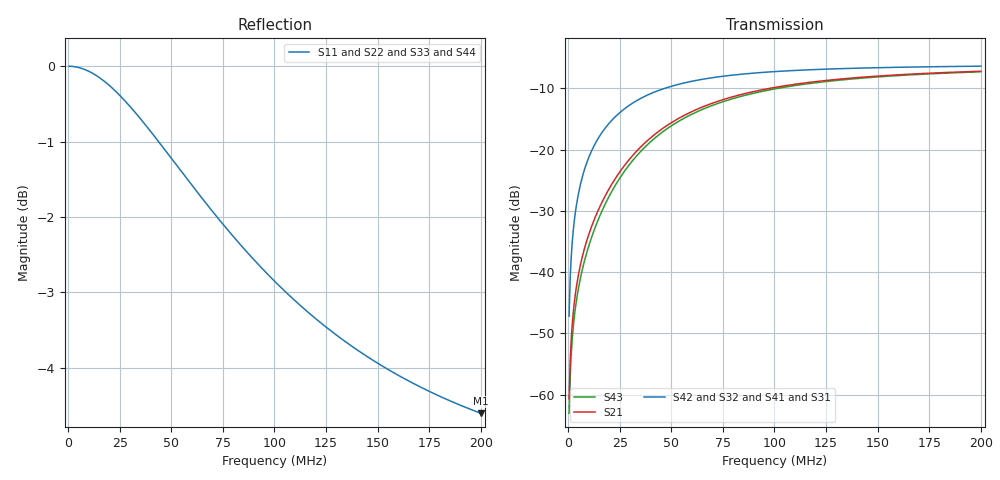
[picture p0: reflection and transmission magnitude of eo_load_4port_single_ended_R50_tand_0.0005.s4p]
! Created with skrf 2.0.1 (http://scikit-rf.org).
# Hz S RI R 50.0
!freq ReS11 ImS11 ReS12 ImS12 ReS13 ImS13
! ReS14 ImS14
! ReS21 ImS21 ReS22 ImS22 ReS23 ImS23
! ReS24 ImS24
! ReS31 ImS31 ReS32 ImS32 ReS33 ImS33
! ReS34 ImS34
! ReS41 ImS41 ReS42 ImS42 ReS43 ImS43
! ReS44 ImS44
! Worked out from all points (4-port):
!   400 points, 500 kHz to 200 MHz, reference 50 ohm
!   strongest paths, dB at 500 kHz, 50.5 MHz, 100.5 MHz, 150.5 MHz, 200 MHz:
!     S42: -47.2, -9.6, -7.2, -6.6, -6.4
!     S32: -47.2, -9.6, -7.2, -6.6, -6.4
!     S41: -47.2, -9.6, -7.2, -6.6, -6.4
!     S31: -47.2, -9.6, -7.2, -6.6, -6.4
!     S21: -60.7, -15.5, -9.8, -8.0, -7.2
!     S43: -63.0, -16.0, -10.1, -8.1, -7.3
!   lowest |S11| = -4.6 dB at 200 MHz (marker M1), VSWR 3.86, Z = 17.1 - j27.1 ohm
!   |S11| at or under -10 dB: nowhere
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500000  0.9999 -0.00968  -9.75e-06 0.000925  4.05e-05 0.00438  4.05e-05 0.00438
        -9.75e-06 0.000925  0.9999 -0.00968  4.05e-05 0.00438  4.05e-05 0.00438
        4.05e-05 0.00438  4.05e-05 0.00438  0.9999 -0.00946  -1.21e-05 0.000705
        4.05e-05 0.00438  4.05e-05 0.00438  -1.21e-05 0.000705  0.9999 -0.00946
1500000  0.9994 -0.029  -9.04e-05 0.00278  0.000351 0.0131  0.000351 0.0131
         -9.04e-05 0.00278  0.9994 -0.029  0.000351 0.0131  0.000351 0.0131
         0.000351 0.0131  0.000351 0.0131  0.9994 -0.0284  -0.000111 0.00212
         0.000351 0.0131  0.000351 0.0131  -0.000111 0.00212  0.9994 -0.0284
3000000  0.9976 -0.058  -0.000362 0.00559  0.00139 0.0262  0.00139 0.0262
         -0.000362 0.00559  0.9976 -0.058  0.00139 0.0262  0.00139 0.0262
         0.00139 0.0262  0.00139 0.0262  0.9977 -0.0567  -0.000445 0.00427
         0.00139 0.0262  0.00139 0.0262  -0.000445 0.00427  0.9977 -0.0567
9500000  0.9764 -0.1807  -0.00341 0.0188  0.0135 0.0809  0.0135 0.0809
         -0.00341 0.0188  0.9764 -0.1807  0.0135 0.0809  0.0135 0.0809
         0.0135 0.0809  0.0135 0.0809  0.9772 -0.1766  -0.00422 0.0147
         0.0135 0.0809  0.0135 0.0809  -0.00422 0.0147  0.9772 -0.1766
4.25e7  0.6527 -0.6139  -0.00929 0.1351  0.1783 0.2394  0.1783 0.2394
        -0.00929 0.1351  0.6527 -0.6139  0.1783 0.2394  0.1783 0.2394
        0.1783 0.2394  0.1783 0.2394  0.6643 -0.6033  -0.0209 0.1246
        0.1783 0.2394  0.1783 0.2394  -0.0209 0.1246  0.6643 -0.6033
1.105e8  0.0268 -0.6974  0.1841 0.2897  0.3946 0.2038  0.3946 0.2038
         0.1841 0.2897  0.0268 -0.6974  0.3946 0.2038  0.3946 0.2038
         0.3946 0.2038  0.3946 0.2038  0.0476 -0.7002  0.1633 0.2926
         0.3946 0.2038  0.3946 0.2038  0.1633 0.2926  0.0476 -0.7002
2e8  -0.2803 -0.5175  0.3558 0.2536  0.4623 0.132  0.4623 0.132
     0.3558 0.2536  -0.2803 -0.5175  0.4623 0.132  0.4623 0.132
     0.4623 0.132  0.4623 0.132  -0.2674 -0.5278  0.3428 0.2639
     0.4623 0.132  0.4623 0.132  0.3428 0.2639  -0.2674 -0.5278
